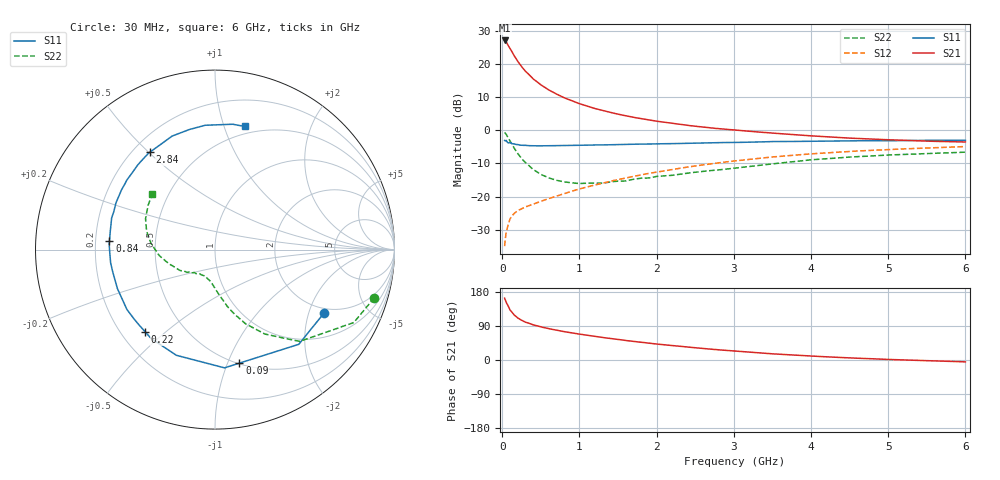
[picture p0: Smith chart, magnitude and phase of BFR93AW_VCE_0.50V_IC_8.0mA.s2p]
! Infineon Technologies  Discrete & RF Semiconductors
! BFR93AW
! VCE = 0.50 V,  IC =  8.0 mA
! Common Emitter S-Parameters:  Nov 2015
# GHz  S  MA  R  50
!  f  S11  S21  S12  S22
! GHz  MAG  ANG  MAG  ANG  MAG  ANG  MAG  ANG
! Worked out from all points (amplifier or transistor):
!   206 points, 30 MHz to 6 GHz, reference 50 ohm
!   highest |S21| = 27.1 dB at 30 MHz (marker M1)
!   |S21| within 3 dB of that: start of sweep to 115.7 MHz
!   unconditionally stable (mu >= 1): 714.8 MHz to 3.126 GHz; 5.584 GHz to end of sweep
!   at 200 MHz: K = 0.44, MSG = 22.6 dB, |S12| = -24.3 dB
!   at 1.56 GHz: K = 1.11, MAG = 7.5 dB, |S12| = -14.6 dB
!   at 6 GHz: K = 1.01, MAG = 0.2 dB, |S12| = -4.9 dB
!   S11 on the Smith chart (normalised r, x): 30 MHz: 1.80, -2.52; 90 MHz: 0.51, -1.10; 220 MHz: 0.30, -0.43; 840 MHz: 0.26, +0.04; 2.84 GHz: 0.27, +0.51; 6 GHz: 0.43, +1.17
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0.03  0.7026 -30.4  22.74 163.1  0.0178 73.0  0.9274 -16.8
0.05  0.7045 -48.5  21.68 152.0  0.0287 68.1  0.8737 -27.7
0.09  0.647 -77.9  18.02 136.7  0.0424 56.2  0.7236 -42.7
0.1  0.661 -85.4  17.36 132.0  0.046 54.3  0.6957 -47.3
0.15  0.627 -110.1  13.6 119.2  0.0552 47.2  0.5468 -59.4
0.2  0.6098 -125.7  11.02 110.8  0.061 44.0  0.4471 -67.6
0.22  0.601 -130.3  10.25 108.6  0.0628 43.7  0.4169 -69.7
0.26  0.594 -139.2  8.855 103.8  0.0662 43.4  0.3631 -74.2
0.3  0.5934 -145.8  7.792 99.8  0.0696 43.5  0.325 -77.7
0.4  0.5855 -158.2  5.974 92.7  0.0766 44.7  0.2558 -84.4
0.5  0.5833 -166.7  4.854 87.2  0.0847 47.1  0.2155 -90.1
0.6  0.5862 -172.8  4.078 82.7  0.0929 49.0  0.1914 -94.6
0.7  0.587 -178.3  3.537 78.6  0.1015 51.1  0.1762 -99.2
0.84  0.59 175.5  2.978 73.7  0.1145 53.2  0.1642 -106.0
1.04  0.5944 168.0  2.438 67.1  0.1339 55.1  0.158 -113.6
1.48  0.6092 155.3  1.772 54.7  0.1784 56.4  0.1699 -128.1
2.02  0.6258 141.4  1.363 41.7  0.2361 54.6  0.202 -141.4
2.84  0.6529 123.6  1.049 26.3  0.3269 48.3  0.255 -159.6
3.1  0.6579 118.3  0.987 22.3  0.3537 45.8  0.2756 -165.1
4.1  0.6853 100.6  0.812 9.4  0.4486 34.6  0.3648 172.4
5.1  0.6976 86.7  0.713 0.9  0.5182 23.4  0.4272 154.1
6  0.7055 76.5  0.666 -4.9  0.5683 14.2  0.4677 138.4
